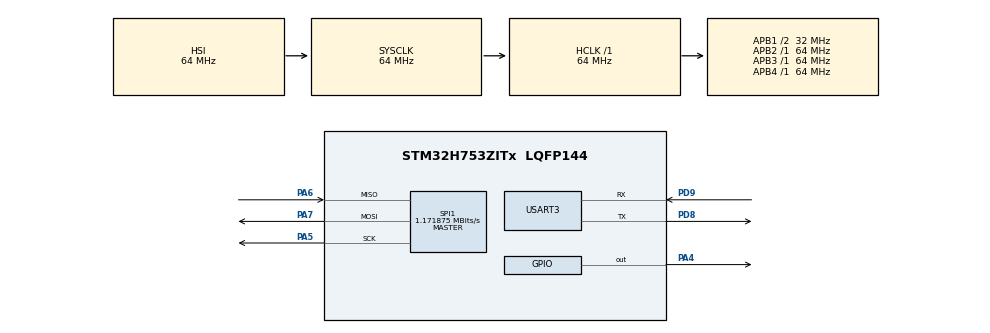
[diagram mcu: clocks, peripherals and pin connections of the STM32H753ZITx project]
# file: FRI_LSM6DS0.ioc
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CORTEX_M7.default_mode_Activation=1
Mcu.Family=STM32H7
Mcu.Name=STM32H753ZITx
Mcu.Package=LQFP144
NVIC.PriorityGroup=NVIC_PRIORITYGROUP_4
PA4.PinState=GPIO_PIN_SET
PA4.Signal=GPIO_Output
PA5.Mode=Full_Duplex_Master
PA5.Signal=SPI1_SCK
PA6.Mode=Full_Duplex_Master
PA6.Signal=SPI1_MISO
PA7.Mode=Full_Duplex_Master
PA7.Signal=SPI1_MOSI
PD8.Mode=Asynchronous
PD8.Signal=USART3_TX
PD9.Mode=Asynchronous
PD9.Signal=USART3_RX
ProjectManager.HeapSize=0x200
ProjectManager.StackSize=0x400
ProjectManager.TargetToolchain=STM32CubeIDE
RCC.ADCFreq_Value=129000000
RCC.APB1Freq_Value=32000000
RCC.APB2Freq_Value=64000000
RCC.APB3Freq_Value=64000000
RCC.APB4Freq_Value=64000000
RCC.CortexFreq_Value=64000000
RCC.D2PPRE1=RCC_APB1_DIV2
RCC.DIVM1=4
RCC.DIVN1=9
RCC.HCLKFreq_Value=64000000
RCC.PLLFRACN=3072
RCC.SYSCLKFreq_VALUE=64000000
RCC.USBFreq_Value=75000000
SPI1.BaudRatePrescaler=SPI_BAUDRATEPRESCALER_64
SPI1.CLKPhase=SPI_PHASE_2EDGE
SPI1.CalculateBaudRate=1.171875 MBits/s
SPI1.DataSize=SPI_DATASIZE_8BIT
SPI1.Direction=SPI_DIRECTION_2LINES
SPI1.Mode=SPI_MODE_MASTER
SPI1.VirtualType=VM_MASTER
USART3.VirtualMode-Asynchronous=VM_ASYNC
VP_MEMORYMAP_VS_MEMORYMAP.Mode=CurAppReg
board=custom

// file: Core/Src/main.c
/* USER CODE BEGIN Header */
/**
  ******************************************************************************
  * @file           : main.c
  * @brief          : Main program body
  ******************************************************************************
  */
/* USER CODE END Header */

#include "main.h"

/* USER CODE BEGIN Includes */
#include <stdio.h>
#include <string.h>
/* USER CODE END Includes */

/* USER CODE BEGIN PD */
#define LSM6DSO_WHO_AM_I      0x0F
#define LSM6DSO_CTRL1_XL      0x10
#define LSM6DSO_CTRL2_G       0x11
#define LSM6DSO_CTRL3_C       0x12
#define LSM6DSO_OUT_TEMP_L    0x20
#define LSM6DSO_OUTX_L_G      0x22
#define LSM6DSO_OUTX_L_A      0x28
/* USER CODE END PD */

/* USER CODE BEGIN PM */
#define CS_LOW()   HAL_GPIO_WritePin(GPIOA, GPIO_PIN_4, GPIO_PIN_RESET)
#define CS_HIGH()  HAL_GPIO_WritePin(GPIOA, GPIO_PIN_4, GPIO_PIN_SET)
/* USER CODE END PM */

SPI_HandleTypeDef hspi1;
UART_HandleTypeDef huart3;

/* USER CODE BEGIN PV */
char uart_buf[200];
/* USER CODE END PV */

void SystemClock_Config(void);
static void MPU_Config(void);
static void MX_GPIO_Init(void);
static void MX_SPI1_Init(void);
static void MX_USART3_UART_Init(void);

/* USER CODE BEGIN PFP */
void UART_Print(char *msg);
void Print_Menu(void);
void LSM6DSO_WriteReg(uint8_t reg, uint8_t data);
uint8_t LSM6DSO_ReadReg(uint8_t reg);
void LSM6DSO_ReadMulti(uint8_t reg, uint8_t *data, uint16_t len);
void LSM6DSO_Init(void);
int16_t LSM6DSO_ReadTempRaw(void);
void LSM6DSO_ReadAccelRaw(int16_t *ax, int16_t *ay, int16_t *az);
void LSM6DSO_ReadGyroRaw(int16_t *gx, int16_t *gy, int16_t *gz);
/* USER CODE END PFP */

/* USER CODE BEGIN 0 */

void UART_Print(char *msg)
{
  HAL_UART_Transmit(&huart3, (uint8_t *)msg, strlen(msg), HAL_MAX_DELAY);
}

void Print_Menu(void)
{
  UART_Print("\r\n============================\r\n");
  UART_Print("What do you want to check?\r\n");
  UART_Print("A = Accelerometer\r\n");
  UART_Print("G = Gyroscope\r\n");
  UART_Print("T = Temperature\r\n");
  UART_Print("M = Show Menu Again\r\n");
  UART_Print("S = Stop Output\r\n");
  UART_Print("============================\r\n");
  UART_Print("Enter choice:\r\n");
}

void LSM6DSO_WriteReg(uint8_t reg, uint8_t data)
{
  uint8_t tx[2];

  tx[0] = reg & 0x7F;   // write
  tx[1] = data;

  CS_LOW();
  HAL_SPI_Transmit(&hspi1, tx, 2, HAL_MAX_DELAY);
  CS_HIGH();
}

uint8_t LSM6DSO_ReadReg(uint8_t reg)
{
  uint8_t tx[2];
  uint8_t rx[2];

  tx[0] = reg | 0x80;   // single-byte read
  tx[1] = 0x00;

  CS_LOW();
  HAL_SPI_TransmitReceive(&hspi1, tx, rx, 2, HAL_MAX_DELAY);
  CS_HIGH();

  return rx[1];
}

void LSM6DSO_ReadMulti(uint8_t reg, uint8_t *data, uint16_t len)
{
  uint8_t addr = reg | 0xC0;   // read + auto increment

  CS_LOW();
  HAL_SPI_Transmit(&hspi1, &addr, 1, HAL_MAX_DELAY);
  HAL_SPI_Receive(&hspi1, data, len, HAL_MAX_DELAY);
  CS_HIGH();
}

void LSM6DSO_Init(void)
{
  // CTRL3_C: BDU=1, IF_INC=1
  LSM6DSO_WriteReg(LSM6DSO_CTRL3_C, 0x44);

  // Accelerometer: 104 Hz, ±2g
  LSM6DSO_WriteReg(LSM6DSO_CTRL1_XL, 0x40);

  // Gyroscope: 104 Hz, 250 dps
  LSM6DSO_WriteReg(LSM6DSO_CTRL2_G, 0x40);
}

int16_t LSM6DSO_ReadTempRaw(void)
{
  uint8_t data[2];
  LSM6DSO_ReadMulti(LSM6DSO_OUT_TEMP_L, data, 2);
  return (int16_t)((data[1] << 8) | data[0]);
}

void LSM6DSO_ReadAccelRaw(int16_t *ax, int16_t *ay, int16_t *az)
{
  uint8_t data[6];
  LSM6DSO_ReadMulti(LSM6DSO_OUTX_L_A, data, 6);

  *ax = (int16_t)((data[1] << 8) | data[0]);
  *ay = (int16_t)((data[3] << 8) | data[2]);
  *az = (int16_t)((data[5] << 8) | data[4]);
}

void LSM6DSO_ReadGyroRaw(int16_t *gx, int16_t *gy, int16_t *gz)
{
  uint8_t data[6];
  LSM6DSO_ReadMulti(LSM6DSO_OUTX_L_G, data, 6);

  *gx = (int16_t)((data[1] << 8) | data[0]);
  *gy = (int16_t)((data[3] << 8) | data[2]);
  *gz = (int16_t)((data[5] << 8) | data[4]);
}

/* USER CODE END 0 */

int main(void)
{
  /* USER CODE BEGIN 1 */
  uint8_t who_am_i;
  int16_t ax, ay, az;
  int16_t gx, gy, gz;
  int16_t temp_raw;
  float temp_c;
  uint8_t rx_char;
  char mode = 'S';
  /* USER CODE END 1 */

  MPU_Config();
  HAL_Init();
  SystemClock_Config();

  MX_GPIO_Init();
  MX_SPI1_Init();
  MX_USART3_UART_Init();

  /* USER CODE BEGIN 2 */
  HAL_Delay(100);

  UART_Print("LSM6DSO SPI Test Start\r\n");

  who_am_i = LSM6DSO_ReadReg(LSM6DSO_WHO_AM_I);

  sprintf(uart_buf, "WHO_AM_I = 0x%02X\r\n", who_am_i);
  UART_Print(uart_buf);

  if (who_am_i == 0x6C)
  {
    UART_Print("LSM6DSO detected successfully\r\n");
    LSM6DSO_Init();
    UART_Print("LSM6DSO init done\r\n");
    Print_Menu();
  }
  else
  {
    UART_Print("LSM6DSO not detected! Check wiring and SPI settings.\r\n");
  }
  /* USER CODE END 2 */

  while (1)
  {
    /* USER CODE BEGIN 3 */

    if (HAL_UART_Receive(&huart3, &rx_char, 1, 10) == HAL_OK)
    {
      if (rx_char == 'A' || rx_char == 'a')
      {
        mode = 'A';
        UART_Print("\r\nAccelerometer selected\r\n");
      }
      else if (rx_char == 'G' || rx_char == 'g')
      {
        mode = 'G';
        UART_Print("\r\nGyroscope selected\r\n");
      }
      else if (rx_char == 'T' || rx_char == 't')
      {
        mode = 'T';
        UART_Print("\r\nTemperature selected\r\n");
      }
      else if (rx_char == 'M' || rx_char == 'm')
      {
        Print_Menu();
      }
      else if (rx_char == 'S' || rx_char == 's')
      {
        mode = 'S';
        UART_Print("\r\nOutput stopped\r\n");
        Print_Menu();
      }
    }

    if (mode == 'A')
    {
      LSM6DSO_ReadAccelRaw(&ax, &ay, &az);
      sprintf(uart_buf, "ACC X:%6d  Y:%6d  Z:%6d\r\n", ax, ay, az);
      UART_Print(uart_buf);
      HAL_Delay(500);
    }
    else if (mode == 'G')
    {
      LSM6DSO_ReadGyroRaw(&gx, &gy, &gz);
      sprintf(uart_buf, "GYRO X:%6d  Y:%6d  Z:%6d\r\n", gx, gy, gz);
      UART_Print(uart_buf);
      HAL_Delay(500);
    }
    else if (mode == 'T')
    {
      temp_raw = LSM6DSO_ReadTempRaw();
      temp_c = 25.0f + (temp_raw / 256.0f);
      sprintf(uart_buf, "TEMP: %.2f C\r\n", temp_c);
      UART_Print(uart_buf);
      HAL_Delay(500);
    }
    else
    {
      HAL_Delay(100);
    }

    /* USER CODE END 3 */
  }
}

void SystemClock_Config(void)
{
  RCC_OscInitTypeDef RCC_OscInitStruct = {0};
  RCC_ClkInitTypeDef RCC_ClkInitStruct = {0};

  HAL_PWREx_ConfigSupply(PWR_LDO_SUPPLY);
  __HAL_PWR_VOLTAGESCALING_CONFIG(PWR_REGULATOR_VOLTAGE_SCALE3);
  while(!__HAL_PWR_GET_FLAG(PWR_FLAG_VOSRDY)) {}

  RCC_OscInitStruct.OscillatorType = RCC_OSCILLATORTYPE_HSI;
  RCC_OscInitStruct.HSIState = RCC_HSI_DIV1;
  RCC_OscInitStruct.HSICalibrationValue = RCC_HSICALIBRATION_DEFAULT;
  RCC_OscInitStruct.PLL.PLLState = RCC_PLL_ON;
  RCC_OscInitStruct.PLL.PLLSource = RCC_PLLSOURCE_HSI;
  RCC_OscInitStruct.PLL.PLLM = 4;
  RCC_OscInitStruct.PLL.PLLN = 9;
  RCC_OscInitStruct.PLL.PLLP = 2;
  RCC_OscInitStruct.PLL.PLLQ = 2;
  RCC_OscInitStruct.PLL.PLLR = 2;
  RCC_OscInitStruct.PLL.PLLRGE = RCC_PLL1VCIRANGE_3;
  RCC_OscInitStruct.PLL.PLLVCOSEL = RCC_PLL1VCOMEDIUM;
  RCC_OscInitStruct.PLL.PLLFRACN = 3072;
  if (HAL_RCC_OscConfig(&RCC_OscInitStruct) != HAL_OK)
  {
    Error_Handler();
  }

  RCC_ClkInitStruct.ClockType = RCC_CLOCKTYPE_HCLK | RCC_CLOCKTYPE_SYSCLK
                              | RCC_CLOCKTYPE_PCLK1 | RCC_CLOCKTYPE_PCLK2
                              | RCC_CLOCKTYPE_D3PCLK1 | RCC_CLOCKTYPE_D1PCLK1;
  RCC_ClkInitStruct.SYSCLKSource = RCC_SYSCLKSOURCE_HSI;
  RCC_ClkInitStruct.SYSCLKDivider = RCC_SYSCLK_DIV1;
  RCC_ClkInitStruct.AHBCLKDivider = RCC_HCLK_DIV1;
  RCC_ClkInitStruct.APB3CLKDivider = RCC_APB3_DIV1;
  RCC_ClkInitStruct.APB1CLKDivider = RCC_APB1_DIV2;
  RCC_ClkInitStruct.APB2CLKDivider = RCC_APB2_DIV1;
  RCC_ClkInitStruct.APB4CLKDivider = RCC_APB4_DIV1;

  if (HAL_RCC_ClockConfig(&RCC_ClkInitStruct, FLASH_LATENCY_1) != HAL_OK)
  {
    Error_Handler();
  }
}

static void MX_SPI1_Init(void)
{
  hspi1.Instance = SPI1;
  hspi1.Init.Mode = SPI_MODE_MASTER;
  hspi1.Init.Direction = SPI_DIRECTION_2LINES;
  hspi1.Init.DataSize = SPI_DATASIZE_8BIT;
  hspi1.Init.CLKPolarity = SPI_POLARITY_LOW;
  hspi1.Init.CLKPhase = SPI_PHASE_2EDGE;
  hspi1.Init.NSS = SPI_NSS_SOFT;
  hspi1.Init.BaudRatePrescaler = SPI_BAUDRATEPRESCALER_64;
  hspi1.Init.FirstBit = SPI_FIRSTBIT_MSB;
  hspi1.Init.TIMode = SPI_TIMODE_DISABLE;
  hspi1.Init.CRCCalculation = SPI_CRCCALCULATION_DISABLE;
  hspi1.Init.CRCPolynomial = 0x0;
  hspi1.Init.NSSPMode = SPI_NSS_PULSE_DISABLE;
  hspi1.Init.NSSPolarity = SPI_NSS_POLARITY_LOW;
  hspi1.Init.FifoThreshold = SPI_FIFO_THRESHOLD_01DATA;
  hspi1.Init.TxCRCInitializationPattern = SPI_CRC_INITIALIZATION_ALL_ZERO_PATTERN;
  hspi1.Init.RxCRCInitializationPattern = SPI_CRC_INITIALIZATION_ALL_ZERO_PATTERN;
  hspi1.Init.MasterSSIdleness = SPI_MASTER_SS_IDLENESS_00CYCLE;
  hspi1.Init.MasterInterDataIdleness = SPI_MASTER_INTERDATA_IDLENESS_00CYCLE;
  hspi1.Init.MasterReceiverAutoSusp = SPI_MASTER_RX_AUTOSUSP_DISABLE;
  hspi1.Init.MasterKeepIOState = SPI_MASTER_KEEP_IO_STATE_DISABLE;
  hspi1.Init.IOSwap = SPI_IO_SWAP_DISABLE;
  if (HAL_SPI_Init(&hspi1) != HAL_OK)
  {
    Error_Handler();
  }
}

static void MX_USART3_UART_Init(void)
{
  huart3.Instance = USART3;
  huart3.Init.BaudRate = 115200;
  huart3.Init.WordLength = UART_WORDLENGTH_8B;
  huart3.Init.StopBits = UART_STOPBITS_1;
  huart3.Init.Parity = UART_PARITY_NONE;
  huart3.Init.Mode = UART_MODE_TX_RX;
  huart3.Init.HwFlowCtl = UART_HWCONTROL_NONE;
  huart3.Init.OverSampling = UART_OVERSAMPLING_16;
  huart3.Init.OneBitSampling = UART_ONE_BIT_SAMPLE_DISABLE;
  huart3.Init.ClockPrescaler = UART_PRESCALER_DIV1;
  huart3.AdvancedInit.AdvFeatureInit = UART_ADVFEATURE_NO_INIT;
  if (HAL_UART_Init(&huart3) != HAL_OK)
  {
    Error_Handler();
  }
  if (HAL_UARTEx_SetTxFifoThreshold(&huart3, UART_TXFIFO_THRESHOLD_1_8) != HAL_OK)
  {
    Error_Handler();
  }
  if (HAL_UARTEx_SetRxFifoThreshold(&huart3, UART_RXFIFO_THRESHOLD_1_8) != HAL_OK)
  {
    Error_Handler();
  }
  if (HAL_UARTEx_DisableFifoMode(&huart3) != HAL_OK)
  {
    Error_Handler();
  }
}

static void MX_GPIO_Init(void)
{
  GPIO_InitTypeDef GPIO_InitStruct = {0};

  __HAL_RCC_GPIOA_CLK_ENABLE();
  __HAL_RCC_GPIOD_CLK_ENABLE();

  HAL_GPIO_WritePin(GPIOA, GPIO_PIN_4, GPIO_PIN_SET);

  GPIO_InitStruct.Pin = GPIO_PIN_4;
  GPIO_InitStruct.Mode = GPIO_MODE_OUTPUT_PP;
  GPIO_InitStruct.Pull = GPIO_NOPULL;
  GPIO_InitStruct.Speed = GPIO_SPEED_FREQ_LOW;
  HAL_GPIO_Init(GPIOA, &GPIO_InitStruct);
}

/* MPU Configuration */
void MPU_Config(void)
{
  MPU_Region_InitTypeDef MPU_InitStruct = {0};

  HAL_MPU_Disable();

  MPU_InitStruct.Enable = MPU_REGION_ENABLE;
  MPU_InitStruct.Number = MPU_REGION_NUMBER0;
  MPU_InitStruct.BaseAddress = 0x0;
  MPU_InitStruct.Size = MPU_REGION_SIZE_4GB;
  MPU_InitStruct.SubRegionDisable = 0x87;
  MPU_InitStruct.TypeExtField = MPU_TEX_LEVEL0;
  MPU_InitStruct.AccessPermission = MPU_REGION_NO_ACCESS;
  MPU_InitStruct.DisableExec = MPU_INSTRUCTION_ACCESS_DISABLE;
  MPU_InitStruct.IsShareable = MPU_ACCESS_SHAREABLE;
  MPU_InitStruct.IsCacheable = MPU_ACCESS_NOT_CACHEABLE;
  MPU_InitStruct.IsBufferable = MPU_ACCESS_NOT_BUFFERABLE;

  HAL_MPU_ConfigRegion(&MPU_InitStruct);
  HAL_MPU_Enable(MPU_PRIVILEGED_DEFAULT);
}

void Error_Handler(void)
{
  __disable_irq();
  while (1)
  {
  }
}
